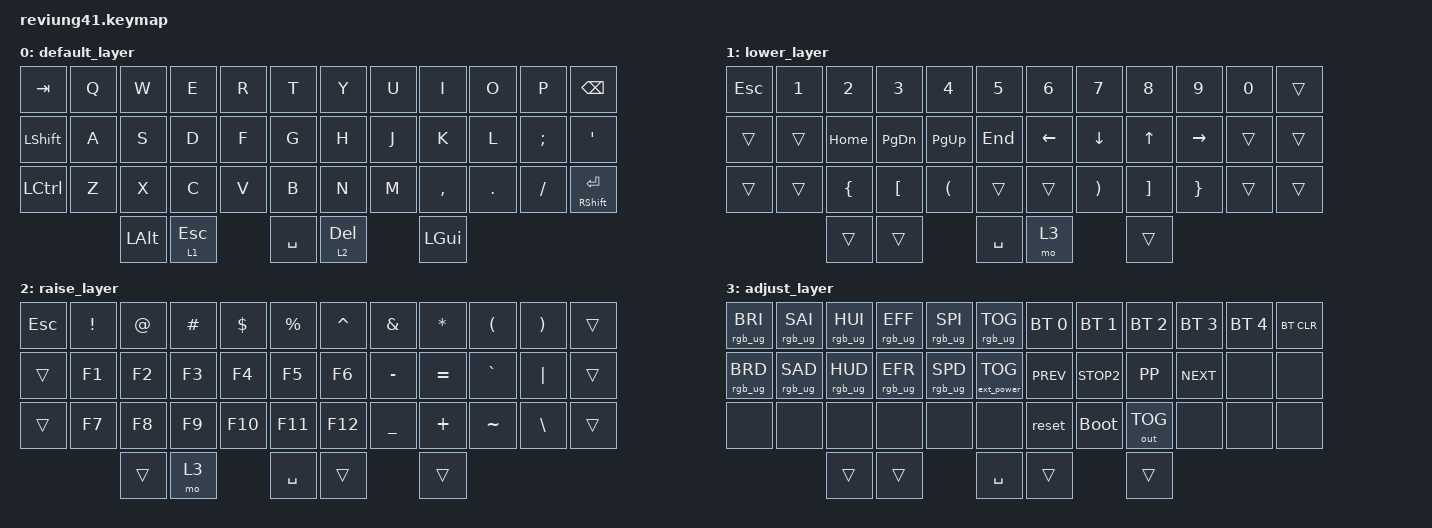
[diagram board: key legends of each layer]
/*
 * Copyright (c) 2020 The ZMK Contributors
 *
 * SPDX-License-Identifier: MIT
 */

#include <behaviors.dtsi>
#include <dt-bindings/zmk/keys.h>
#include <dt-bindings/zmk/bt.h>
#include <dt-bindings/zmk/rgb.h>
#include <dt-bindings/zmk/ext_power.h>

/ {
        keymap {
                compatible = "zmk,keymap";

                default_layer {
// -------------------------------------------------------------------------------------
// |  TAB |  Q  |  W  |  E  |  R  |  T  |   |  Y  |  U   |  I  |  O  |  P  |   BKSP    |
// | SHFT |  A  |  S  |  D  |  F  |  G  |   |  H  |  J   |  K  |  L  |  ;  |    '      |
// | CTRL |  Z  |  X  |  C  |  V  |  B  |   |  N  |  M   |  ,  |  .  |  /  | SHFT(RET) |
//                         | ALT | LWR | SPC | RSE  | GUI |
                        bindings = <
   &kp TAB   &kp Q &kp W &kp E &kp R &kp T    &kp Y &kp U  &kp I     &kp O   &kp P    &kp BSPC
   &kp LSHFT &kp A &kp S &kp D &kp F &kp G    &kp H &kp J  &kp K     &kp L   &kp SEMI &kp SQT
   &kp LCTRL &kp Z &kp X &kp C &kp V &kp B    &kp N &kp M  &kp COMMA &kp DOT &kp FSLH &mt RSHFT RET
                  &kp LALT  &lt 1 ESC &kp SPACE &lt 2 DEL &kp LGUI 
                        >;
                };


                lower_layer {
// -----------------------------------------------------------------------------------------
// | ESC |  1  |  2   |  3    |  4    |  5  |   |  6  |  7   |  8   |  9   |  0  | DEL |
// |     |     | HOME | PG_DN | PG_UP | END |   | LFT | DWN  | UP   | RGT  |     |     |
// |     |     | LBRC | LBKT  | LPAR  |     |   |     | RPAR | RBKT | RBRC |     |     |
//                       |     |     |  SPC  | ADJ  |     |
                        bindings = <
   &kp ESC &kp N1    &kp N2    &kp N3    &kp N4    &kp N5        &kp N6    &kp N7    &kp N8    &kp N9    &kp N0    &trans
   &trans  &trans    &kp HOME  &kp PG_DN &kp PG_UP &kp END       &kp LEFT  &kp DOWN  &kp UP    &kp RIGHT &trans    &trans
   &trans  &trans    &kp LBRC  &kp LBKT  &kp LPAR  &trans        &trans    &kp RPAR  &kp RBKT  &kp RBRC  &trans    &trans
                                &trans      &trans       &kp SPACE      &mo 3      &trans
                        >;
                };

                raise_layer {
// ----------------------------------------------------------------------------------
// | ESC |  !  |  @  |  #  |  $  |  %  |   |  ^  |  &  |  *  |  (  |  )  | DEL |
// |     |  F1 | F2  | F3  | F4  |  F5 |   | F6  |  -  |  =  |  `  | "|" |     |
// |     |  F7 | F8  | F9  | F10 | F11 |   | F12 |  _  |  +  |  ~  |  \  |     |
//                      |     |  ADJ |  SPC  |     |     |
                        bindings = <
   &kp ESC &kp EXCL &kp AT &kp HASH &kp DLLR &kp PRCNT      &kp CARET &kp AMPS  &kp STAR  &kp LPAR  &kp RPAR  &trans
   &trans  &kp F1   &kp F2 &kp F3   &kp F4   &kp F5         &kp F6    &kp MINUS &kp EQUAL &kp GRAVE &kp PIPE  &trans
   &trans  &kp F7   &kp F8 &kp F9   &kp F10  &kp F11        &kp F12   &kp UNDER &kp PLUS  &kp TILDE &kp BSLH  &trans
                            &trans      &mo 3       &kp SPACE        &trans       &trans
                        >;
                };
                adjust_layer {
// -----------------------------------------------------------------------------------------
// | RGB BRI+ | RGB SAT+ | RGB HUE+ | RGB ANI+ | RGB SPD+ | RGB TOG |      | BT 0  |  BT1  | BT2     | BT3  | BT4 | BT5 | BT CLR |
// | RGB BRI- | RGB SAT- | RGB HUE- | RGB ANI+ | RGB SPD- | PWR TOG |      | PREV  | PAUSE | PLAY    | NEXT |     |     |        |
// |          |          |          |          |          |         |      | RESET | BOOT  | OUT TOG |      |     |     |        | 
//                                                     |     |     |  SPACE  |     |     |
                        bindings = <
   &rgb_ug RGB_BRI &rgb_ug RGB_SAI &rgb_ug RGB_HUI &rgb_ug RGB_EFF &rgb_ug RGB_SPI &rgb_ug RGB_TOG      &bt BT_SEL 0 &bt BT_SEL 1 &bt BT_SEL 2 &bt BT_SEL 3 &bt BT_SEL 4 &bt BT_CLR
   &rgb_ug RGB_BRD &rgb_ug RGB_SAD &rgb_ug RGB_HUD &rgb_ug RGB_EFR &rgb_ug RGB_SPD &ext_power EP_TOG    &kp K_PREV   &kp K_STOP2  &kp K_PP     &kp K_NEXT   &none        &none
   &none           &none           &none           &none           &none           &none                &reset       &bootloader  &out OUT_TOG &none        &none        &none
                                                                     &trans      &trans         &kp SPACE     &trans      &trans
                        >;
                };
        };
};
